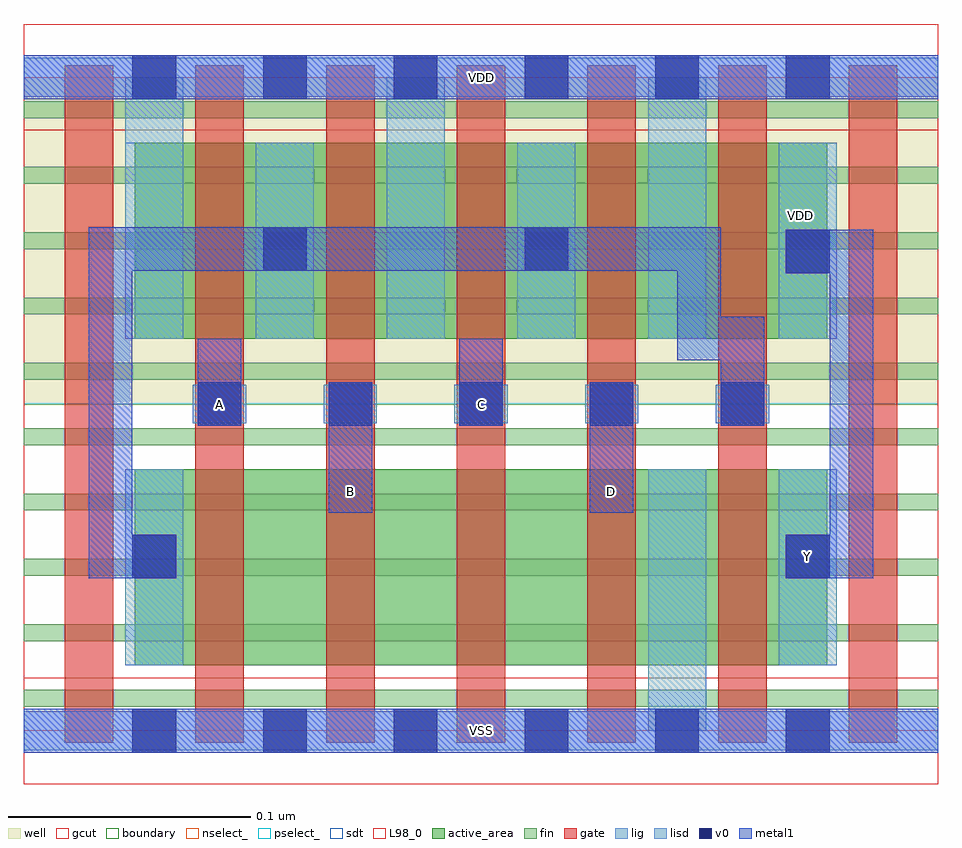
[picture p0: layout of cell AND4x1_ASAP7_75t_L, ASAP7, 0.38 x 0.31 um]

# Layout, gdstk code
import gdstk
lib = gdstk.Library(unit=1e-6, precision=2.5e-10)
def R(c, l, rs):  # rectangles x0, y0, x1, y1
    for r in rs: c.add(gdstk.rectangle(r[:2], r[2:], *l))
def A(c, l, x, y, w, h, nx, ny, dx, dy):  # array of equal rectangles
    R(c, l, [(x+i*dx, y+j*dy, x+i*dx+w, y+j*dy+h) for i in range(nx) for j in range(ny)])
def P(c, l, *ps):  # polygons
    for p in ps: c.add(gdstk.Polygon(p, *l))
well = (1, 0)
fin = (2, 0)
gate = (7, 0)
gcut = (10, 0)
active_area = (11, 0)
nselect_ = (12, 0)
pselect_ = (13, 0)
lig = (16, 0)
lisd = (17, 0)
v0 = (18, 0)
metal1 = (19, 0)
sdt = (88, 0)
L98_0 = (98, 0)
boundary = (100, 0)

and4x1_asap7_75t_l = lib.new_cell('AND4x1_ASAP7_75t_L')
R(and4x1_asap7_75t_l, well, [(0,0.135,0.378,0.27)])
A(and4x1_asap7_75t_l, fin, 0, 0.01, 0.378, 0.007, 1, 10, 0, 0.027)
A(and4x1_asap7_75t_l, gate, 0.017, -0.005, 0.02, 0.28, 7, 1, 0.054, 0)
R(and4x1_asap7_75t_l, gcut, [(0,-0.022,0.378,0.022), (0,0.248,0.378,0.292)])
R(and4x1_asap7_75t_l, active_area, [(0.046,0.027,0.332,0.108), (0.046,0.162,0.332,0.243)])
R(and4x1_asap7_75t_l, nselect_, [(0,0,0.378,0.135)])
R(and4x1_asap7_75t_l, pselect_, [(0,0.135,0.378,0.27)])
A(and4x1_asap7_75t_l, lig, 0.07, 0.127, 0.022, 0.016, 5, 1, 0.054, 0)
R(and4x1_asap7_75t_l, lig, [(0,-0.008,0.378,0.008), (0,0.262,0.378,0.278)])
A(and4x1_asap7_75t_l, lisd, 0.042, 0.162, 0.024, 0.108, 3, 1, 0.108, 0)
A(and4x1_asap7_75t_l, lisd, 0.096, 0.162, 0.024, 0.081, 3, 1, 0.108, 0)
R(and4x1_asap7_75t_l, lisd, [(0.258,0,0.282,0.108), (0.042,0.027,0.066,0.108), (0.312,0.027,0.336,0.108)])
A(and4x1_asap7_75t_l, v0, 0.045, -0.009, 0.018, 0.018, 6, 2, 0.054, 0.27)
A(and4x1_asap7_75t_l, v0, 0.072, 0.126, 0.018, 0.018, 5, 1, 0.054, 0)
R(and4x1_asap7_75t_l, v0, [(0.045,0.063,0.063,0.081), (0.315,0.063,0.333,0.081), (0.315,0.189,0.333,0.207), (0.099,0.19,0.117,0.208), (0.207,0.19,0.225,0.208)])
R(and4x1_asap7_75t_l, metal1, [(0,-0.009,0.378,0.009), (0.126,0.09,0.144,0.144), (0.234,0.09,0.252,0.144), (0.072,0.126,0.09,0.162), (0.18,0.126,0.198,0.162), (0,0.261,0.378,0.279)])
P(and4x1_asap7_75t_l, metal1, [(0.315,0.063),(0.315,0.081),(0.333,0.081),(0.333,0.189),(0.315,0.189),(0.315,0.207),(0.351,0.207),(0.351,0.063)],
  [(0.027,0.063),(0.027,0.208),(0.288,0.208),(0.288,0.171),(0.306,0.171),(0.306,0.126),(0.288,0.126),(0.288,0.153),(0.27,0.153),(0.27,0.19),(0.045,0.19),(0.045,0.081),(0.063,0.081),(0.063,0.063)])
A(and4x1_asap7_75t_l, sdt, 0.042, 0.162, 0.024, 0.081, 6, 1, 0.054, 0)
R(and4x1_asap7_75t_l, sdt, [(0.042,0.027,0.066,0.108), (0.258,0.027,0.282,0.108), (0.312,0.027,0.336,0.108)])
R(and4x1_asap7_75t_l, L98_0, [(0,0,0.378,0.27)])
R(and4x1_asap7_75t_l, boundary, [(0,0,0.378,0.27)])
and4x1_asap7_75t_l.add(gdstk.Label('C', (0.189,0.135), layer=19, texttype=251))
and4x1_asap7_75t_l.add(gdstk.Label('B', (0.135,0.099), layer=19, texttype=251))
and4x1_asap7_75t_l.add(gdstk.Label('A', (0.081,0.135), layer=19, texttype=251))
and4x1_asap7_75t_l.add(gdstk.Label('D', (0.243,0.099), layer=19, texttype=251))
and4x1_asap7_75t_l.add(gdstk.Label('Y', (0.324,0.072), layer=19, texttype=251))
and4x1_asap7_75t_l.add(gdstk.Label('VSS', (0.189,0), layer=19, texttype=251))
and4x1_asap7_75t_l.add(gdstk.Label('VDD', (0.189,0.27), layer=19, texttype=251))
and4x1_asap7_75t_l.add(gdstk.Label('VDD', (0.321,0.213), layer=1, texttype=251))
and4x1_asap7_75t_l.add(gdstk.Label('VSS', (0.435,0.213), layer=3, texttype=251))

lib.write_gds('AND4x1_ASAP7_75t_L.gds')
